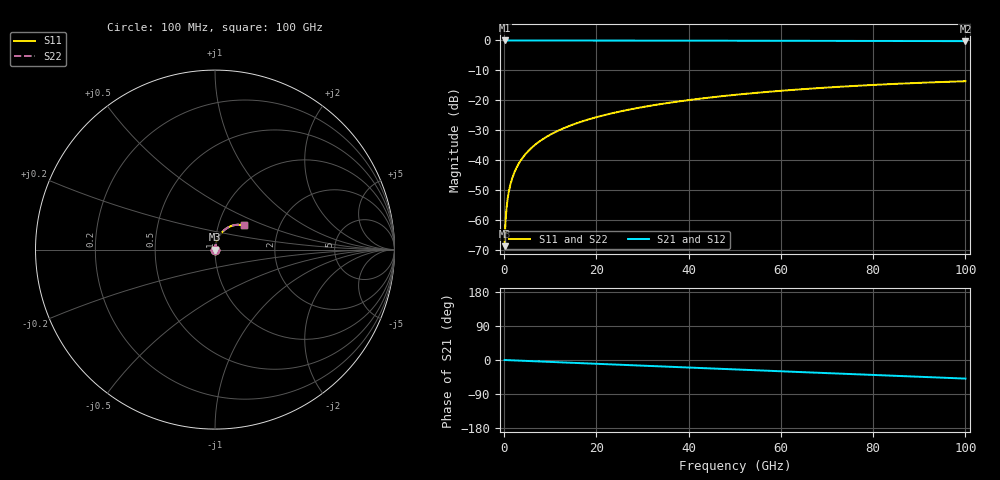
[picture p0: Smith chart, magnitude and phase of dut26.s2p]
! Touchstone file exported from HFSS 2026.1.0
!  File:  C:/ffzhzh/LocalFiles/Ansys_Project_Files/temp_train_TSV_26_1783504503_31944.aedt
!  Generated:  05:56:28 PM Jul  8, 2026
!  Design:  TSV
!  Project:  temp_train_TSV_26_1783504503_31944
! Variables:
!  h_bsmrdl = 2um
!  h_ox = 20um
!  h_rdl = 5um
!  h_sub = 95.31um
!  h_tmrdl = 5um
!  h_tsv = 95.31um
!  h_via = 3um
!  l_bsmrdl = 300um
!  l_sub = 416.52um
!  l_tmrdl = 200um
!  m_sub = 200um
!  pitch = 50.17um
!  r_tsv = 8.26um
!  s_tmrdl = 10um
!  w_bsmrdl = 18um
!  w_sub = 500um
!  w_tmrdl = 12um
!  x_tsv_center1 = 206um
!  x_tsv_center2 = 524um
!  x_tsv_center3 = 736um
!  x_tsv_center4 = 1054um
!  x_tsv_center5 = 1266um
!  x_tsv_center6 = 1584um
# GHz S MA R 50.000000
! Terminal data exported
! Port[1] = TSV1_1_T1
! Port[2] = TSV1_1_T2
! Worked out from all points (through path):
!   1000 points, 100 MHz to 100 GHz, reference 50 ohm
!   highest |S21| = 0.00 dB at 100 MHz (marker M1); lowest = -0.2 dB at 100 GHz (marker M2)
!   group delay of S21, straight-line fit = 1.36 ps
!   lowest |S11| = -68.7 dB at 100 MHz (marker M3), VSWR 1.00, Z = 50 + j0.0311 ohm
!   |S11| at or under -10 dB: start of sweep to end of sweep
!   |S22| runs from -68.7 to -13.6 dB; largest |S21 - S12| = 5e-15
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0.1  0.0003666 58.0  0.9998 -0.1  0.9998 -0.1  0.0003666 58.0
! Gamma 0 0 0 0
! Port Impedance 50 0 50 0
0.3  0.0009476 76.1  0.9998 -0.2  0.9998 -0.2  0.0009476 76.1
0.7  0.002098 81.1  0.9997 -0.4  0.9997 -0.4  0.002098 81.1
0.8  0.002378 81.6  0.9997 -0.4  0.9997 -0.4  0.002378 81.6
1  0.002934 82.3  0.9996 -0.5  0.9996 -0.5  0.002934 82.3
1.3  0.003759 83.0  0.9996 -0.7  0.9996 -0.7  0.003759 83.0
1.7  0.004851 83.5  0.9995 -0.9  0.9995 -0.9  0.004851 83.5
2.3  0.006472 83.9  0.9994 -1.2  0.9994 -1.2  0.006472 83.9
3  0.008344 84.0  0.9993 -1.5  0.9993 -1.5  0.008344 84.0
3.8  0.01046 84.1  0.9992 -1.9  0.9992 -1.9  0.01046 84.1
4.8  0.0131 84.0  0.9991 -2.4  0.9991 -2.4  0.0131 84.0
6  0.01625 83.8  0.999 -3.0  0.999 -3.0  0.01625 83.8
8.8  0.02357 82.9  0.9986 -4.4  0.9986 -4.4  0.02357 82.9
12.4  0.03289 81.4  0.9981 -6.2  0.9981 -6.2  0.03289 81.4
16.8  0.04416 79.6  0.9975 -8.4  0.9975 -8.4  0.04416 79.6
24.2  0.06281 76.2  0.9962 -12.1  0.9962 -12.1  0.06281 76.2
33.4  0.08532 71.9  0.9942 -16.7  0.9942 -16.7  0.08532 71.9
41.2  0.1037 68.2  0.9922 -20.5  0.9922 -20.5  0.1037 68.2
50.1  0.1236 63.9  0.9897 -24.9  0.9897 -24.9  0.1236 63.9
66.7  0.1574 56.0  0.9846 -33.0  0.9846 -33.0  0.1574 56.0
83.4  0.1862 48.0  0.9792 -41.1  0.9792 -41.1  0.1862 48.0
100  0.2086 40.2  0.9744 -49.1  0.9744 -49.1  0.2086 40.2
